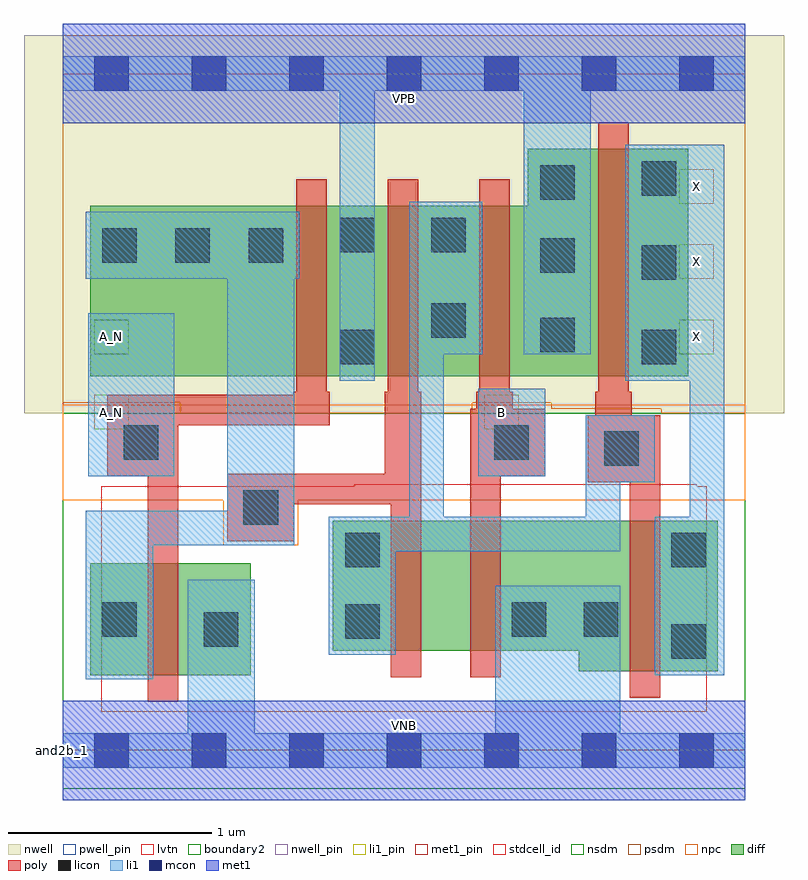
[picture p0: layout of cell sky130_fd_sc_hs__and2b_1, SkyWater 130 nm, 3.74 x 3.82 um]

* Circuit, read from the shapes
.subckt sky130_fd_sc_hs__and2b_1 A_N B VGND VNB VPB VPWR X
XM1 VGND A_N n1 VNB sky130_fd_pr__nfet_01v8_lvt w=0.55 l=0.15
XM2 n2 n1 n3 VNB sky130_fd_pr__nfet_01v8_lvt w=0.64 l=0.15
XM3 VGND B n2 VNB sky130_fd_pr__nfet_01v8_lvt w=0.64 l=0.15
XM4 X n3 VGND VNB sky130_fd_pr__nfet_01v8_lvt w=0.74 l=0.15
XM5 VPWR A_N n1 VPB sky130_fd_pr__pfet_01v8 w=0.84 l=0.15
XM6 n3 n1 VPWR VPB sky130_fd_pr__pfet_01v8 w=0.84 l=0.15
XM7 VPWR B n3 VPB sky130_fd_pr__pfet_01v8 w=0.84 l=0.15
XM8 X n3 VPWR VPB sky130_fd_pr__pfet_01v8 w=1.12 l=0.15
.ends

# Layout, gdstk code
import gdstk
lib = gdstk.Library(unit=1e-6, precision=1e-09)
def R(c, l, rs):  # rectangles x0, y0, x1, y1
    for r in rs: c.add(gdstk.rectangle(r[:2], r[2:], *l))
def A(c, l, x, y, w, h, nx, ny, dx, dy):  # array of equal rectangles
    R(c, l, [(x+i*dx, y+j*dy, x+i*dx+w, y+j*dy+h) for i in range(nx) for j in range(ny)])
def P(c, l, *ps):  # polygons
    for p in ps: c.add(gdstk.Polygon(p, *l))
nwell_pin = (64, 16)
nwell = (64, 20)
diff = (65, 20)
poly = (66, 20)
licon = (66, 44)
li1_pin = (67, 16)
li1 = (67, 20)
mcon = (67, 44)
met1_pin = (68, 16)
met1 = (68, 20)
stdcell_id = (81, 4)
nsdm = (93, 44)
psdm = (94, 20)
npc = (95, 20)
pwell_pin = (122, 16)
lvtn = (125, 44)
boundary2 = (236, 0)

sky130_fd_sc_hs__and2b_1 = lib.new_cell('sky130_fd_sc_hs__and2b_1')
R(sky130_fd_sc_hs__and2b_1, nwell_pin, [(0,3.085,3.36,3.33)])
R(sky130_fd_sc_hs__and2b_1, nwell, [(-0.19,1.66,3.55,3.52)])
R(sky130_fd_sc_hs__and2b_1, diff, [(0.135,0.37,0.925,0.92)])
P(sky130_fd_sc_hs__and2b_1, diff, [(3.08,2.96),(2.29,2.96),(2.29,2.68),(0.135,2.68),(0.135,1.84),(3.08,1.84)],
  [(3.225,1.13),(1.33,1.13),(1.33,0.49),(2.54,0.49),(2.54,0.39),(3.225,0.39)])
P(sky130_fd_sc_hs__and2b_1, poly, [(2.94,1.65),(2.8,1.65),(2.8,1.765),(2.785,1.765),(2.785,3.09),(2.635,3.09),(2.635,1.765),(2.62,1.765),(2.62,1.65),(2.585,1.65),(2.585,1.32),(2.79,1.32),(2.79,0.26),(2.94,0.26)],
  [(2.375,1.68),(2.215,1.68),(2.215,1.765),(2.2,1.765),(2.2,2.81),(2.05,2.81),(2.05,1.765),(2.035,1.765),(2.035,1.68),(2.005,1.68),(2.005,0.36),(2.155,0.36),(2.155,1.35),(2.375,1.35)],
  [(1.765,1.765),(1.75,1.765),(1.75,2.81),(1.6,2.81),(1.6,1.765),(1.585,1.765),(1.585,1.36),(0.81,1.36),(0.81,1.03),(1.14,1.03),(1.14,1.21),(1.615,1.21),(1.615,0.36),(1.765,0.36)],
  [(1.315,1.765),(1.3,1.765),(1.3,2.81),(1.15,2.81),(1.15,1.765),(1.135,1.765),(1.135,1.75),(0.22,1.75),(0.22,1.35),(0.42,1.35),(0.42,0.24),(0.57,0.24),(0.57,1.6),(1.315,1.6)])
A(sky130_fd_sc_hs__and2b_1, licon, 2.85, 1.9, 0.17, 0.17, 1, 3, 0, 0.415)
A(sky130_fd_sc_hs__and2b_1, licon, 0.195, 2.4, 0.17, 0.17, 3, 1, 0.36, 0)
R(sky130_fd_sc_hs__and2b_1, licon, [(2.995,0.45,3.165,0.62), (0.695,0.51,0.865,0.68), (1.39,0.55,1.56,0.72), (0.195,0.56,0.365,0.73), (2.21,0.56,2.38,0.73), (2.565,0.56,2.735,0.73), (1.39,0.9,1.56,1.07), (2.995,0.9,3.165,1.07), (0.89,1.11,1.06,1.28), (2.665,1.4,2.835,1.57), (0.3,1.43,0.47,1.6), (2.125,1.43,2.295,1.6), (1.365,1.9,1.535,2.07), (2.35,1.96,2.52,2.13), (1.815,2.03,1.985,2.2), (2.35,2.35,2.52,2.52), (1.365,2.45,1.535,2.62), (1.815,2.45,1.985,2.62), (2.35,2.71,2.52,2.88)])
A(sky130_fd_sc_hs__and2b_1, li1_pin, 3.035, 1.95, 0.17, 0.17, 1, 3, 0, 0.37)
R(sky130_fd_sc_hs__and2b_1, li1_pin, [(0.155,1.58,0.325,1.75), (2.075,1.58,2.245,1.75), (0.155,1.95,0.325,2.12)])
R(sky130_fd_sc_hs__and2b_1, li1, [(0.125,1.35,0.55,2.15), (2.045,1.35,2.375,1.78)])
P(sky130_fd_sc_hs__and2b_1, li1, [(0,-0.085),(0,0.085),(0.615,0.085),(0.615,0.84),(0.945,0.84),(0.945,0.085),(2.13,0.085),(2.13,0.81),(2.745,0.81),(2.745,0.085),(3.36,0.085),(3.36,-0.085)],
  [(0,3.245),(0,3.415),(3.36,3.415),(3.36,3.245),(2.6,3.245),(2.6,1.95),(2.27,1.95),(2.27,3.245),(1.535,3.245),(1.535,1.82),(1.365,1.82),(1.365,3.245)],
  [(2.77,1.82),(2.77,2.98),(3.255,2.98),(3.255,0.37),(2.915,0.37),(2.915,1.15),(3.085,1.15),(3.085,1.82)],
  [(1.705,1.15),(1.705,2.7),(2.065,2.7),(2.065,1.95),(1.875,1.95),(1.875,1.15),(2.575,1.15),(2.575,1.65),(2.915,1.65),(2.915,1.32),(2.745,1.32),(2.745,0.98),(1.64,0.98),(1.64,0.47),(1.31,0.47),(1.31,1.15)],
  [(0.81,1.18),(0.81,2.32),(0.115,2.32),(0.115,2.65),(1.165,2.65),(1.165,2.32),(1.14,2.32),(1.14,1.01),(0.445,1.01),(0.445,0.35),(0.115,0.35),(0.115,1.18)])
A(sky130_fd_sc_hs__and2b_1, mcon, 0.155, -0.085, 0.17, 0.17, 7, 2, 0.48, 3.33)
R(sky130_fd_sc_hs__and2b_1, met1_pin, [(0,0,3.36,0.245), (0,3.085,3.36,3.33)])
R(sky130_fd_sc_hs__and2b_1, met1, [(0,-0.245,3.36,0.245), (0,3.085,3.36,3.575)])
R(sky130_fd_sc_hs__and2b_1, stdcell_id, [(0,0,3.36,3.33)])
R(sky130_fd_sc_hs__and2b_1, nsdm, [(0,-0.19,3.36,1.66)])
P(sky130_fd_sc_hs__and2b_1, psdm, [(3.36,3.52),(0,3.52),(0,1.71),(0.58,1.71),(0.58,1.66),(2.015,1.66),(2.015,1.71),(2.405,1.71),(2.405,1.68),(2.945,1.68),(2.945,1.66),(3.36,1.66)])
P(sky130_fd_sc_hs__and2b_1, npc, [(3.36,1.7),(0,1.7),(0,1.23),(0.79,1.23),(0.79,1.01),(1.16,1.01),(1.16,1.23),(3.36,1.23)])
R(sky130_fd_sc_hs__and2b_1, pwell_pin, [(0,0,3.36,0.245)])
P(sky130_fd_sc_hs__and2b_1, lvtn, [(3.17,1.3),(3.12,1.3),(3.12,1.31),(1.435,1.31),(1.435,1.3),(0.19,1.3),(0.19,0.19),(3.17,0.19)])
R(sky130_fd_sc_hs__and2b_1, boundary2, [(0,0,3.36,3.33)])
sky130_fd_sc_hs__and2b_1.add(gdstk.Label('and2b_1', (0,0), layer=83, texttype=44))
sky130_fd_sc_hs__and2b_1.add(gdstk.Label('VNB', (1.68,0.123), layer=64, texttype=59))
sky130_fd_sc_hs__and2b_1.add(gdstk.Label('VPB', (1.68,3.208), layer=64, texttype=5))
sky130_fd_sc_hs__and2b_1.add(gdstk.Label('VPWR', (1.68,3.208), layer=68, texttype=5))
sky130_fd_sc_hs__and2b_1.add(gdstk.Label('VGND', (1.68,0.123), layer=68, texttype=5))
sky130_fd_sc_hs__and2b_1.add(gdstk.Label('B', (2.16,1.665), layer=67, texttype=5))
sky130_fd_sc_hs__and2b_1.add(gdstk.Label('A_N', (0.24,1.665), layer=67, texttype=5))
sky130_fd_sc_hs__and2b_1.add(gdstk.Label('A_N', (0.24,2.035), layer=67, texttype=5))
sky130_fd_sc_hs__and2b_1.add(gdstk.Label('X', (3.12,2.035), layer=67, texttype=5))
sky130_fd_sc_hs__and2b_1.add(gdstk.Label('X', (3.12,2.405), layer=67, texttype=5))
sky130_fd_sc_hs__and2b_1.add(gdstk.Label('X', (3.12,2.775), layer=67, texttype=5))

lib.write_gds('sky130_fd_sc_hs__and2b_1.gds')
